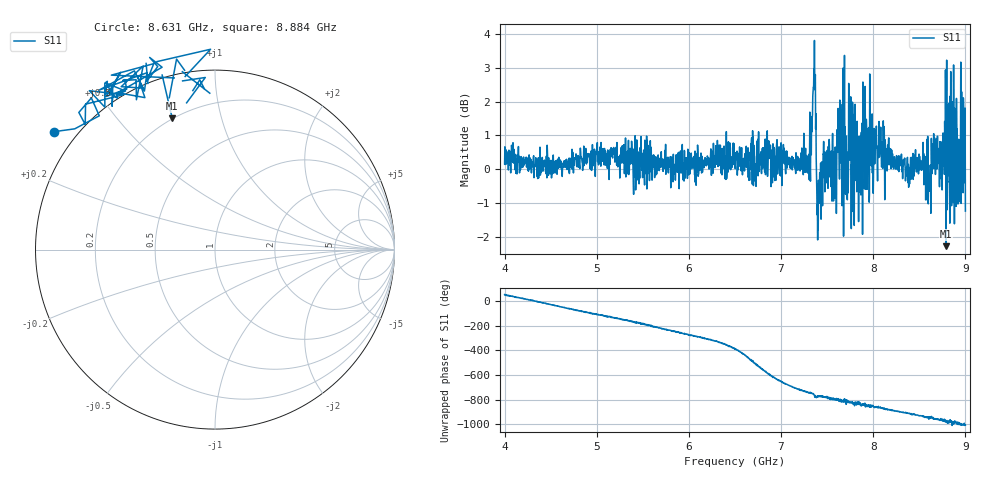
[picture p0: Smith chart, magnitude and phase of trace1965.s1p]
! Created with skrf 1.8.0 (http://scikit-rf.org).
# Hz S RI R 50.0
!freq ReS11 ImS11
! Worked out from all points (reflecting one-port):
!   1601 points, 4 GHz to 9 GHz, reference 50 ohm
!   lowest |S11| = -2.3 dB at 8.791 GHz (marker M1), VSWR 7.71, Z = 9.82 + j35.4 ohm
!   phase of S11 starts at 51 deg and turns -1056 deg over the sweep
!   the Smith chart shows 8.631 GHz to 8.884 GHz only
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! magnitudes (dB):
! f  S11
! 4 GHz  0.2
! 4.625 GHz  -0.2
! 5.25 GHz  -0.3
! 5.875 GHz  0.3
! 6.5 GHz  0.5
! 7.125 GHz  0.2
! 7.294 GHz  -0.1
! 7.316 GHz  0.0
! 7.353 GHz  2.4
! 7.412 GHz  -1.0
! 7.478 GHz  0.5
! 7.591 GHz  0.3
! 7.631 GHz  0.3
! 7.669 GHz  0.9
! 7.703 GHz  0.1
! 7.75 GHz  0.3
! 7.841 GHz  -1.5
! 7.962 GHz  2.8
! 8.097 GHz  0.6
! 8.375 GHz  -0.1
! 8.522 GHz  0.0
! 8.603 GHz  -0.2
! 8.656 GHz  1.1
! 8.725 GHz  0.4
! 8.791 GHz  -2.3
! 8.919 GHz  -1.0
! 8.972 GHz  0.9
! 9 GHz  -1.2
